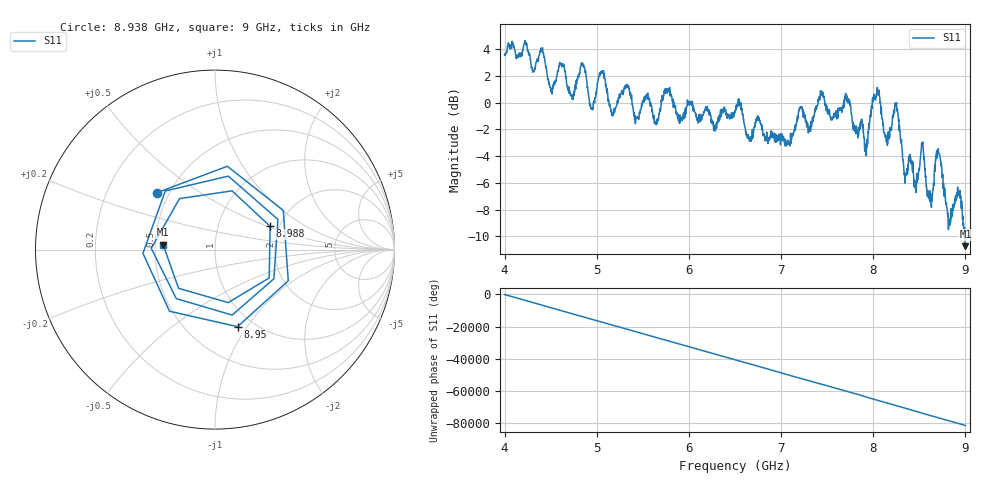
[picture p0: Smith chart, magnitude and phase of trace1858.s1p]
! Created with skrf 1.8.0 (http://scikit-rf.org).
# Hz S RI R 50.0
!freq ReS11 ImS11
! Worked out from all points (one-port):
!   1601 points, 4 GHz to 9 GHz, reference 50 ohm
!   lowest |S11| = -10.7 dB at 9 GHz (marker M1), VSWR 1.82, Z = 27.5 + j1.68 ohm
!   |S11| at or under -10 dB: 8.992986 GHz to end of sweep
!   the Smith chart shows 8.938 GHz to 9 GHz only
!   S11 on the Smith chart (normalised r, x): 8.938 GHz: 0.43, +0.34; 8.95 GHz: 0.84, -0.90; 8.988 GHz: 1.79, +0.52; 9 GHz: 0.55, +0.03
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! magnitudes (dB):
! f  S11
! 4 GHz  3.6
! 4.406 GHz  4.0
! 4.506 GHz  0.9
! 4.625 GHz  2.9
! 4.728 GHz  0.5
! 4.853 GHz  2.8
! 4.944 GHz  -0.5
! 5.05 GHz  2.3
! 5.159 GHz  -0.6
! 5.25 GHz  0.4
! 5.875 GHz  -1.1
! 6.5 GHz  -0.8
! 7.125 GHz  -2.5
! 7.434 GHz  0.5
! 7.75 GHz  -0.1
! 7.922 GHz  -3.3
! 8.025 GHz  0.2
! 8.147 GHz  -2.7
! 8.247 GHz  -0.2
! 8.375 GHz  -4.7
! 8.534 GHz  -3.0
! 8.619 GHz  -7.4
! 8.706 GHz  -3.5
! 8.825 GHz  -8.7
! 8.938 GHz  -6.9
! 8.95 GHz  -7.0
! 8.988 GHz  -9.5
! 9 GHz  -10.7
